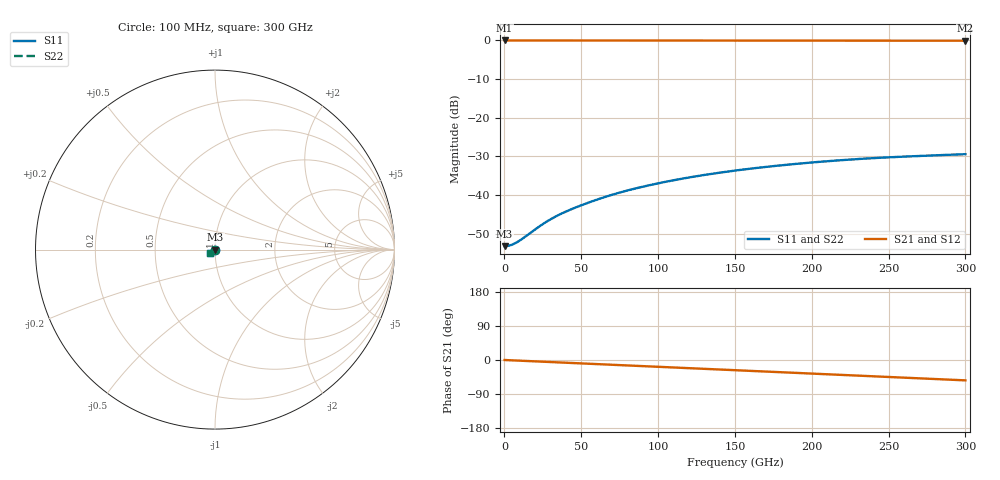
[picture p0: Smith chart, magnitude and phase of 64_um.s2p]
#  Hz  S  RI  R  50
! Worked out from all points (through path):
!   3000 points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, 100 MHz to 300 GHz, reference 50 ohm
!   highest |S21| = -0.02 dB at 100 MHz (marker M1); lowest = -0.1 dB at 300 GHz (marker M2)
!   group delay of S21, straight-line fit = 497 fs
!   lowest |S11| = -53.3 dB at 100 MHz (marker M3), VSWR 1.00, Z = 50.2 - j0.000742 ohm
!   |S11| at or under -10 dB: start of sweep to end of sweep
!   |S22| runs from -53.3 to -29.5 dB; largest |S21 - S12| = 3.1e-07
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1e8  0.00217 -7.39e-06  0.9979 -0.000321  0.9979 -0.000321  0.00217 -7.39e-06
3.6e9  0.00221 -0.000272  0.9978 -0.0116  0.9978 -0.0116  0.00221 -0.000272
7.3e9  0.00231 -0.000586  0.9974 -0.0234  0.9974 -0.0234  0.00231 -0.000586
1.17e10  0.0025 -0.00104  0.9967 -0.0373  0.9967 -0.0373  0.0025 -0.00104
2.36e10  0.00293 -0.00275  0.9939 -0.0743  0.9939 -0.0743  0.00293 -0.00275
3e10  0.00296 -0.00382  0.9921 -0.094  0.9921 -0.094  0.00296 -0.00382
3.43e10  0.00289 -0.00453  0.9908 -0.1073  0.9908 -0.1073  0.00289 -0.00453
3.89e10  0.00277 -0.00526  0.9891 -0.1215  0.9891 -0.1215  0.00277 -0.00526
5.01e10  0.00239 -0.00695  0.984 -0.156  0.984 -0.156  0.00239 -0.00695
6.21e10  0.00187 -0.00875  0.9772 -0.1926  0.9772 -0.1926  0.00187 -0.00875
7.36e10  0.00117 -0.0105  0.9695 -0.2274  0.9695 -0.2274  0.00117 -0.0105
8.58e10  0.000237 -0.0122  0.96 -0.2641  0.96 -0.2641  0.000237 -0.0122
1.001e11  -0.00103 -0.0141  0.947 -0.3065  0.947 -0.3065  -0.00103 -0.0141
1.116e11  -0.0022 -0.0155  0.9353 -0.3402  0.9353 -0.3402  -0.0022 -0.0155
1.233e11  -0.00353 -0.0169  0.9221 -0.374  0.9221 -0.374  -0.00353 -0.0169
1.501e11  -0.00695 -0.0194  0.8873 -0.4495  0.8873 -0.4495  -0.00695 -0.0194
1.734e11  -0.0103 -0.021  0.8519 -0.5126  0.8519 -0.5126  -0.0103 -0.021
2.001e11  -0.0143 -0.0221  0.8059 -0.5815  0.8059 -0.5815  -0.0143 -0.0221
2.259e11  -0.0182 -0.0223  0.756 -0.6443  0.756 -0.6443  -0.0182 -0.0223
2.501e11  -0.0216 -0.0217  0.7044 -0.6993  0.7044 -0.6993  -0.0216 -0.0217
2.786e11  -0.0251 -0.0206  0.6385 -0.7585  0.6385 -0.7585  -0.0251 -0.0206
3e11  -0.0274 -0.0195  0.5856 -0.7984  0.5856 -0.7984  -0.0274 -0.0195
